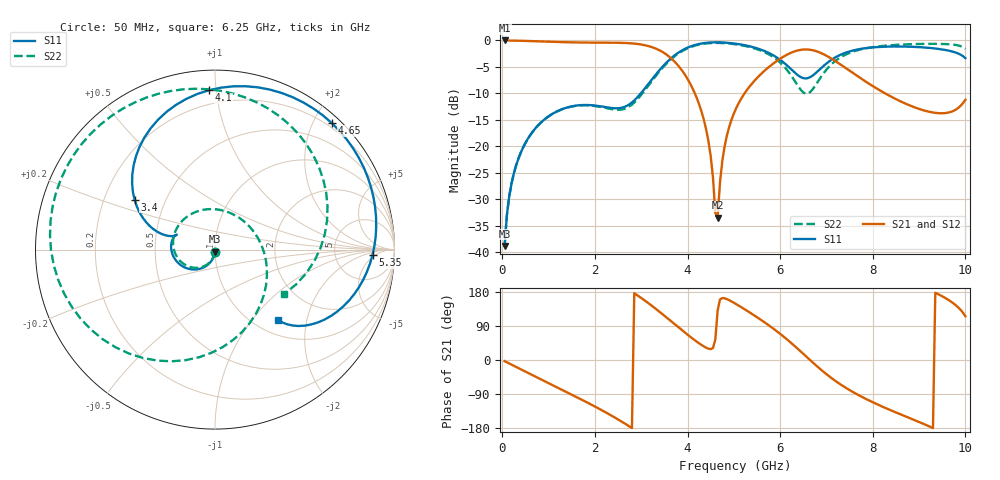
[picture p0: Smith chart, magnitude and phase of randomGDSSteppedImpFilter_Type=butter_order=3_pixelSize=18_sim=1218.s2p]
! freq	dB(S11)	phase(S11)	dB(S12)	phase(S12)
!  dB(S21)	phase(S21)	dB(S22)	phase(S22)
!S-par simulation data
#  GHz  S  DB  R 50
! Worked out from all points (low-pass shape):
!   200 points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, 50 MHz to 10 GHz, reference 50 ohm
!   highest |S21| = -0.01 dB at 50 MHz (marker M1); lowest = -33.5 dB at 4.65 GHz (marker M2)
!   |S21| within 3 dB of the highest: start of sweep to 3.595 GHz; 6.084 GHz to 7.024 GHz (940.1 MHz wide, 14.3 % of centre)
!   lowest |S11| = -38.8 dB at 50 MHz (marker M3), VSWR 1.02, Z = 50 - j1.14 ohm
!   |S11| at or under -10 dB: start of sweep to 2.992 GHz
!   |S22| runs from -38.9 to -0.5 dB; largest |S21 - S12| = 0
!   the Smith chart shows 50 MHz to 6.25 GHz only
!   S11 on the Smith chart (normalised r, x): 50 MHz: 1.00, -0.02; 3.4 GHz: 0.33, +0.26; 4.1 GHz: 0.11, +0.96; 4.65 GHz: 0.13, +2.28; 5.35 GHz: 14, -4; 6.25 GHz: 1.26, -1.37
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0.05  -38.84 -91.6  -0.01 -3.1  -0.01 -3.1  -38.88 -91.4
0.2  -27.00 -101.7  -0.03 -12.4  -0.03 -12.4  -27.00 -102.8
0.5  -19.37 -119.6  -0.09 -30.7  -0.09 -30.7  -19.38 -122.5
1.15  -13.55 -156.0  -0.28 -70.1  -0.28 -70.1  -13.56 -165.4
1.75  -12.21 174.9  -0.40 -106.8  -0.40 -106.8  -12.26 150.3
2.7  -12.32 161.7  -0.50 -171.8  -0.50 -171.8  -12.70 32.9
3.4  -5.55 148.2  -1.89 126.8  -1.89 126.8  -5.79 -78.7
3.75  -2.63 122.1  -4.28 91.6  -4.28 91.6  -2.80 -123.5
4.1  -1.02 92.1  -8.91 57.3  -8.91 57.3  -1.15 -163.8
4.45  -0.42 62.9  -18.97 29.9  -18.97 29.9  -0.53 160.3
4.65  -0.36 47.3  -33.49 130.3  -33.49 130.3  -0.47 141.4
4.8  -0.41 36.1  -20.05 162.8  -20.05 162.8  -0.52 127.8
5.05  -0.63 18.3  -12.82 147.6  -12.82 147.6  -0.75 105.6
5.35  -1.13 -1.9  -8.60 124.8  -8.60 124.8  -1.27 78.6
5.85  -2.80 -32.6  -4.38 83.1  -4.38 83.1  -3.14 27.2
6.25  -5.55 -48.0  -2.28 43.8  -2.28 43.8  -6.79 -32.8
6.7  -6.66 -36.6  -1.85 -6.1  -1.85 -6.1  -9.26 -159.8
7  -4.36 -39.2  -2.89 -37.4  -2.89 -37.4  -5.53 136.1
7.4  -2.36 -57.4  -5.13 -72.0  -5.13 -72.0  -2.74 86.8
8.35  -1.16 -105.7  -10.41 -130.6  -10.41 -130.6  -0.93 19.2
9.4  -1.58 -167.7  -13.74 174.5  -13.74 174.5  -0.65 -30.1
10  -3.35 132.6  -11.22 115.5  -11.22 115.5  -1.59 -61.8
